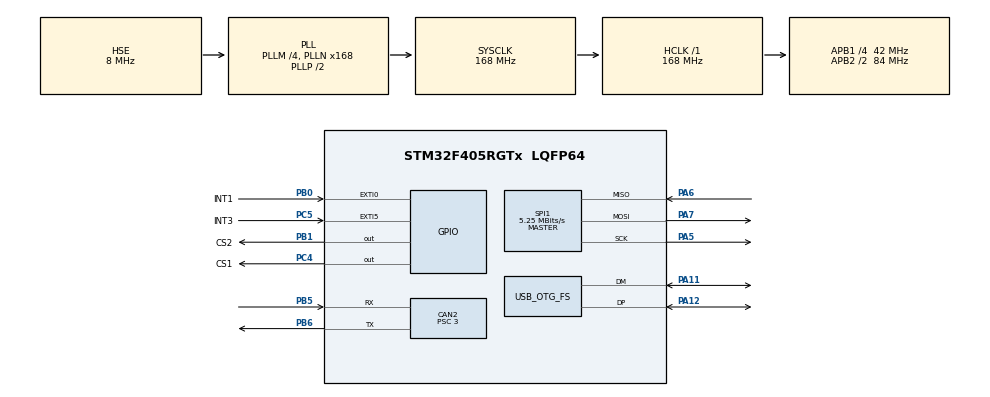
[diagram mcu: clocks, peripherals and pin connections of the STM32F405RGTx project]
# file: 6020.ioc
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CAN2.ABOM=ENABLE
CAN2.AWUM=ENABLE
CAN2.BS1=CAN_BS1_10TQ
CAN2.BS2=CAN_BS2_3TQ
CAN2.CalculateBaudRate=1000000
CAN2.CalculateTimeBit=1000
CAN2.CalculateTimeQuantum=71.42857142857143
CAN2.NART=ENABLE
CAN2.Prescaler=3
Dma.Request0=SPI1_RX
Dma.Request1=SPI1_TX
Dma.SPI1_RX.0.Direction=DMA_PERIPH_TO_MEMORY
Dma.SPI1_RX.0.FIFOMode=DMA_FIFOMODE_DISABLE
Dma.SPI1_RX.0.Instance=DMA2_Stream2
Dma.SPI1_RX.0.MemDataAlignment=DMA_MDATAALIGN_BYTE
Dma.SPI1_RX.0.MemInc=DMA_MINC_ENABLE
Dma.SPI1_RX.0.Mode=DMA_NORMAL
Dma.SPI1_RX.0.PeriphDataAlignment=DMA_PDATAALIGN_BYTE
Dma.SPI1_RX.0.PeriphInc=DMA_PINC_DISABLE
Dma.SPI1_RX.0.Priority=DMA_PRIORITY_VERY_HIGH
Dma.SPI1_TX.1.Direction=DMA_MEMORY_TO_PERIPH
Dma.SPI1_TX.1.FIFOMode=DMA_FIFOMODE_DISABLE
Dma.SPI1_TX.1.Instance=DMA2_Stream3
Dma.SPI1_TX.1.MemDataAlignment=DMA_MDATAALIGN_BYTE
Dma.SPI1_TX.1.MemInc=DMA_MINC_ENABLE
Dma.SPI1_TX.1.Mode=DMA_NORMAL
Dma.SPI1_TX.1.PeriphDataAlignment=DMA_PDATAALIGN_BYTE
Dma.SPI1_TX.1.PeriphInc=DMA_PINC_DISABLE
Dma.SPI1_TX.1.Priority=DMA_PRIORITY_HIGH
Mcu.Family=STM32F4
Mcu.Name=STM32F405RGTx
Mcu.Package=LQFP64
NVIC.CAN2_RX0_IRQn=true\:0\:0\:false\:false\:true\:true\:true\:true
NVIC.CAN2_TX_IRQn=true\:0\:0\:false\:false\:true\:true\:true\:true
NVIC.DMA2_Stream2_IRQn=true\:0\:0\:false\:false\:true\:false\:true\:true
NVIC.DMA2_Stream3_IRQn=true\:0\:0\:false\:false\:true\:false\:true\:true
NVIC.OTG_FS_IRQn=true\:0\:0\:false\:false\:true\:true\:true\:true
NVIC.PriorityGroup=NVIC_PRIORITYGROUP_4
PA11.Mode=Device_Only
PA11.Signal=USB_OTG_FS_DM
PA12.Mode=Device_Only
PA12.Signal=USB_OTG_FS_DP
PA13.Mode=Serial_Wire
PA13.Signal=SYS_JTMS-SWDIO
PA14.Mode=Serial_Wire
PA14.Signal=SYS_JTCK-SWCLK
PA5.Mode=Full_Duplex_Master
PA5.Signal=SPI1_SCK
PA6.Mode=Full_Duplex_Master
PA6.Signal=SPI1_MISO
PA7.Mode=Full_Duplex_Master
PA7.Signal=SPI1_MOSI
PB0.GPIO_Label=INT1
PB0.GPIO_ModeDefaultEXTI=GPIO_MODE_IT_FALLING
PB0.GPIO_PuPd=GPIO_PULLUP
PB0.Signal=GPXTI0
PB1.GPIO_Label=CS2
PB1.GPIO_PuPd=GPIO_PULLUP
PB1.GPIO_Speed=GPIO_SPEED_FREQ_HIGH
PB1.PinState=GPIO_PIN_SET
PB1.Signal=GPIO_Output
PB5.Mode=CAN_Activate
PB5.Signal=CAN2_RX
PB6.Mode=CAN_Activate
PB6.Signal=CAN2_TX
PC4.GPIO_Label=CS1
PC4.GPIO_PuPd=GPIO_PULLUP
PC4.GPIO_Speed=GPIO_SPEED_FREQ_HIGH
PC4.PinState=GPIO_PIN_SET
PC4.Signal=GPIO_Output
PC5.GPIO_Label=INT3
PC5.GPIO_ModeDefaultEXTI=GPIO_MODE_IT_FALLING
PC5.GPIO_PuPd=GPIO_PULLUP
PC5.Signal=GPXTI5
PH0-OSC_IN.Mode=HSE-External-Oscillator
PH0-OSC_IN.Signal=RCC_OSC_IN
PH1-OSC_OUT.Mode=HSE-External-Oscillator
PH1-OSC_OUT.Signal=RCC_OSC_OUT
ProjectManager.HeapSize=0x200
ProjectManager.StackSize=0x400
ProjectManager.TargetToolchain=CMake
RCC.48MHZClocksFreq_Value=48000000
RCC.AHBFreq_Value=168000000
RCC.APB1CLKDivider=RCC_HCLK_DIV4
RCC.APB1Freq_Value=42000000
RCC.APB1TimFreq_Value=84000000
RCC.APB2CLKDivider=RCC_HCLK_DIV2
RCC.APB2Freq_Value=84000000
RCC.APB2TimFreq_Value=168000000
RCC.CortexFreq_Value=168000000
RCC.HCLKFreq_Value=168000000
RCC.HSE_VALUE=8000000
RCC.HSI_VALUE=16000000
RCC.LSE_VALUE=32768
RCC.PLLM=4
RCC.PLLN=168
RCC.PLLQ=7
RCC.SYSCLKFreq_VALUE=168000000
RCC.SYSCLKSource=RCC_SYSCLKSOURCE_PLLCLK
RCC.VCOOutputFreq_Value=336000000
SPI1.BaudRatePrescaler=SPI_BAUDRATEPRESCALER_16
SPI1.CLKPhase=SPI_PHASE_2EDGE
SPI1.CLKPolarity=SPI_POLARITY_HIGH
SPI1.CalculateBaudRate=5.25 MBits/s
SPI1.Direction=SPI_DIRECTION_2LINES
SPI1.Mode=SPI_MODE_MASTER
SPI1.VirtualType=VM_MASTER
USB_DEVICE.CLASS_NAME_FS=CDC
USB_DEVICE.VirtualMode-CDC_FS=Cdc
USB_DEVICE.VirtualModeFS=Cdc_FS
USB_OTG_FS.VirtualMode=Device_Only
VP_USB_DEVICE_VS_USB_DEVICE_CDC_FS.Mode=CDC_FS
board=custom

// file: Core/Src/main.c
/* USER CODE BEGIN Header */
/**
  ******************************************************************************
  * @file           : main.c
  * @brief          : 针对 +40度抖动优化的完整版本
  * 集成：动态P增益、增强滤波(0.1)、积分分离与死区
  ******************************************************************************
  */
/* USER CODE END Header */
#include "main.h"
#include "can.h"
#include "dma.h"
#include "spi.h"
#include "usb_device.h"
#include "gpio.h"

/* USER CODE BEGIN Includes */
#include "stdio.h"
#include "stdarg.h"
#include "math.h"
#include "bsp_can.h"
#include "bsp_usb.h"
#include "bsp_bmi088driver.h"
#include "module_pid.h"
#include "lib_MahonyAHRS.h"
#include "lib_akf.h"
#include "lib_ahrsfusion.h"
/* USER CODE END Includes */

/* USER CODE BEGIN PM */
extern moto_info_t motor_info[MOTOR_MAX_NUM];

#define MOTOR2_IDX  2
#define MOTOR4_IDX  4

/* ===== PID 基础参数（已根据抖动情况优化） ===== */
#define ANGLE_KP        10.0f
#define ANGLE_KI        0.05f
#define ANGLE_KD        0.4f
#define ANGLE_I_MAX    40.0f
#define ANGLE_OUT_MAX 250.0f

#define SPEED_KP      80.0f    /* 适当降低速度环 P 增益以缓解抖动 */
#define SPEED_KI        0.5f
#define SPEED_KD        0.0f    /* 速度环 D 保持为 0，防止放大噪声 */
#define SPEED_I_MAX  4000.0f
#define SPEED_OUT_MAX 25000.0f

/* ===== 抖动优化专项参数 ===== */
#define LPF_ALPHA       0.1f   /* 增强滤波：从 0.3 降至 0.1，滤除反馈噪声 */
#define ANGLE_DEADBAND  0.1f   /* 位置死区 */
#define I_SEPARATE_THR  2.0f   /* 积分分离阈值 */
#define I_DEADBAND      0.05f  /* 积分死区 */

#define P_REDUCE_THR    2.0f   /* 误差小于 2.0° 时触发 P 增益减小 */
#define P_REDUCE_RATIO  0.5f   /* 增益削减比例，此处为削弱 50% */

/* 其他系统参数保持不变 */
#define GYRO_CALIB_MS    2000
#define ACCEL_VALID_MIN   5.0f
#define ACCEL_VALID_MAX  15.0f
#define AKF_P0           1.0f
#define AKF_Q0           1e-7f
#define PF_NEFF_THRESH  (PF_PARTICLE_NUM / 2.0f)
#define SCAN_AMP        40.0f
#define SCAN_FREQ        0.5f
#define SPEED_FF_GAIN    0.0f
#define HOMING_SPEED    20.0f
#define HOMING_THRESH    3.0f

pid_struct_t angle_pid2, angle_pid4;
pid_struct_t speed_pid2, speed_pid4;

typedef enum { STATE_HOMING = 0, STATE_SCAN } ctrl_state_t;
ctrl_state_t state2 = STATE_HOMING;
ctrl_state_t state4 = STATE_HOMING;

float prof_pos = 0.0f;
float scan_phase = 0.0f;
float dbg_spd_ff = 0.0f;
float filtered_spd2 = 0.0f;
float filtered_spd4 = 0.0f;
uint16_t zero_enc2 = 0;
uint16_t zero_enc4 = 0;

/* Ozone 观测变量 */
volatile float dbg_angle2, dbg_angle4, dbg_prof, dbg_err2, dbg_err4;
volatile float dbg_voltage2, dbg_voltage4;
volatile int imu_calib_done = 0;
float gyro_bias[3] = {0}, euler_offset[3] = {0};
Gyro_AKF_HandleTypeDef akf_gx, akf_gy, akf_gz;
ParticleFilter_t pf;
/* USER CODE END PM */

/* USER CODE BEGIN 0 */
float enc_to_angle(uint16_t enc, uint16_t zero) {
    int32_t diff = (int32_t)enc - (int32_t)zero;
    if (diff > 4096) diff -= 8192; else if (diff < -4096) diff += 8192;
    return (float)diff * 360.0f / 8192.0f;
}

float angle_err_calc(float target, float current) {
    float e = target - current;
    if (e > 180.0f) e -= 360.0f; else if (e < -180.0f) e += 360.0f;
    return e;
}
/* USER CODE END 0 */

int main(void) {
    HAL_Init();
    SystemClock_Config();
    MX_GPIO_Init();
    MX_DMA_Init();
    MX_CAN2_Init();
    MX_SPI1_Init();
    MX_USB_DEVICE_Init();

    /* USER CODE BEGIN 2 */
    can_user_init(&hcan2);
    pid_init(&angle_pid2, ANGLE_KP, ANGLE_KI, ANGLE_KD, ANGLE_I_MAX, ANGLE_OUT_MAX);
    pid_init(&speed_pid2, SPEED_KP, SPEED_KI, SPEED_KD, SPEED_I_MAX, SPEED_OUT_MAX);
    pid_init(&angle_pid4, ANGLE_KP, ANGLE_KI, ANGLE_KD, ANGLE_I_MAX, ANGLE_OUT_MAX);
    pid_init(&speed_pid4, SPEED_KP, SPEED_KI, SPEED_KD, SPEED_I_MAX, SPEED_OUT_MAX);

    BMI088_init();
    HAL_Delay(100);
    zero_enc2 = motor_info[MOTOR2_IDX].rotor_angle;
    zero_enc4 = motor_info[MOTOR4_IDX].rotor_angle;
    BSP_USB_Init();
    /* USER CODE END 2 */

    float q[4] = {1.0f, 0.0f, 0.0f, 0.0f};

    while (1) {
        /* USER CODE BEGIN 3 */
        BSP_USB_Receive();
        static uint32_t last_tick = 0;
        if (HAL_GetTick() - last_tick >= 10) {
            last_tick = HAL_GetTick();
            const float dt = 0.01f;

            fp32 gyro[3], accel[3], temp;
            BMI088_read(gyro, accel, &temp);

            /* --- IMU 校准逻辑 --- */
            if (!imu_calib_done) {
                static int calib_cnt = 0;
                static double g_sum[3] = {0};
                g_sum[0]+=gyro[0]; g_sum[1]+=gyro[1]; g_sum[2]+=gyro[2];
                if (++calib_cnt >= 200) {
                    gyro_bias[0]=g_sum[0]/200; gyro_bias[1]=g_sum[1]/200; gyro_bias[2]=g_sum[2]/200;
                    Gyro_AKF_Init(&akf_gx, gyro_bias[0], AKF_P0, AKF_Q0, 1e-4f);
                    Gyro_AKF_Init(&akf_gy, gyro_bias[1], AKF_P0, AKF_Q0, 1e-4f);
                    Gyro_AKF_Init(&akf_gz, gyro_bias[2], AKF_P0, AKF_Q0, 1e-4f);
                    imu_calib_done = 1;
                }
                continue;
            }

            /* --- 姿态融合更新 --- */
            float gx = Gyro_AKF_Update(&akf_gx, gyro[0]) - gyro_bias[0];
            float gy = Gyro_AKF_Update(&akf_gy, gyro[1]) - gyro_bias[1];
            float gz = Gyro_AKF_Update(&akf_gz, gyro[2]) - gyro_bias[2];
            MahonyAHRSupdateIMU(q, gx, gy, gz, accel[1], accel[0], accel[2]);

            /* --- 反馈值读取与滤波 --- */
            dbg_angle2 = enc_to_angle(motor_info[MOTOR2_IDX].rotor_angle, zero_enc2);
            dbg_angle4 = enc_to_angle(motor_info[MOTOR4_IDX].rotor_angle, zero_enc4);

            // 增强速度反馈低通滤波
            filtered_spd2 = LPF_ALPHA * (float)motor_info[MOTOR2_IDX].rotor_speed + (1.0f - LPF_ALPHA) * filtered_spd2;
            filtered_spd4 = LPF_ALPHA * (float)motor_info[MOTOR4_IDX].rotor_speed + (1.0f - LPF_ALPHA) * filtered_spd4;

            // 正弦扫描目标生成
            scan_phase += dt;
            prof_pos = SCAN_AMP * sinf(2.0f * (float)M_PI * SCAN_FREQ * scan_phase);
            dbg_prof = prof_pos;

            /* ---- ID2 PID 优化核心 ---- */
            {
                dbg_err2 = angle_err_calc(-prof_pos, dbg_angle2);

                // 1. 位置环全局死区
                if (fabsf(dbg_err2) < ANGLE_DEADBAND) dbg_err2 = 0.0f;

                // 2. 动态调节 KP：误差越小，P越弱，抑制抖动
                float dynamic_kp = ANGLE_KP;
                if (fabsf(dbg_err2) < P_REDUCE_THR) {
                    dynamic_kp = ANGLE_KP * P_REDUCE_RATIO;
                }
                angle_pid2.p_out = dynamic_kp * dbg_err2;

                // 3. 积分优化：死区外积分，死区内平滑衰减
                if (fabsf(dbg_err2) > I_DEADBAND && fabsf(dbg_err2) < I_SEPARATE_THR) {
                    angle_pid2.i_out += angle_pid2.ki * dbg_err2;
                } else if (fabsf(dbg_err2) <= I_DEADBAND) {
                    angle_pid2.i_out *= 0.8f;
                }
                LIMIT_MIN_MAX(angle_pid2.i_out, -angle_pid2.i_max, angle_pid2.i_max);

                // 4. 微分项 D
                angle_pid2.d_out = angle_pid2.kd * (dbg_err2 - angle_pid2.err[0]);
                angle_pid2.err[0] = dbg_err2;

                float spd_target2 = angle_pid2.p_out + angle_pid2.i_out + angle_pid2.d_out;
                LIMIT_MIN_MAX(spd_target2, -angle_pid2.out_max, angle_pid2.out_max);

                // 5. 速度环计算
                float spd_err2 = spd_target2 - filtered_spd2;
                speed_pid2.p_out = speed_pid2.kp * spd_err2;
                speed_pid2.i_out += speed_pid2.ki * spd_err2;
                LIMIT_MIN_MAX(speed_pid2.i_out, -speed_pid2.i_max, speed_pid2.i_max);

                dbg_voltage2 = speed_pid2.p_out + speed_pid2.i_out;
                LIMIT_MIN_MAX(dbg_voltage2, -speed_pid2.out_max, speed_pid2.out_max);
            }

            /* ---- ID4 PID 优化核心 ---- */
            {
                dbg_err4 = angle_err_calc(-prof_pos, dbg_angle4);
                if (fabsf(dbg_err4) < ANGLE_DEADBAND) dbg_err4 = 0.0f;

                float dynamic_kp4 = (fabsf(dbg_err4) < P_REDUCE_THR) ? (ANGLE_KP * P_REDUCE_RATIO) : ANGLE_KP;
                angle_pid4.p_out = dynamic_kp4 * dbg_err4;

                if (fabsf(dbg_err4) > I_DEADBAND && fabsf(dbg_err4) < I_SEPARATE_THR) {
                    angle_pid4.i_out += angle_pid4.ki * dbg_err4;
                } else if (fabsf(dbg_err4) <= I_DEADBAND) {
                    angle_pid4.i_out *= 0.8f;
                }
                LIMIT_MIN_MAX(angle_pid4.i_out, -angle_pid4.i_max, angle_pid4.i_max);

                angle_pid4.d_out = angle_pid4.kd * (dbg_err4 - angle_pid4.err[0]);
                angle_pid4.err[0] = dbg_err4;

                float spd_target4 = angle_pid4.p_out + angle_pid4.i_out + angle_pid4.d_out;
                LIMIT_MIN_MAX(spd_target4, -angle_pid4.out_max, angle_pid4.out_max);

                float spd_err4 = spd_target4 - filtered_spd4;
                speed_pid4.p_out = speed_pid4.kp * spd_err4;
                speed_pid4.i_out += speed_pid4.ki * spd_err4;
                LIMIT_MIN_MAX(speed_pid4.i_out, -speed_pid4.i_max, speed_pid4.i_max);

                dbg_voltage4 = speed_pid4.p_out + speed_pid4.i_out;
                LIMIT_MIN_MAX(dbg_voltage4, -speed_pid4.out_max, speed_pid4.out_max);
            }

            // 输出电流控制
            set_motor_voltage(0, 0, (int16_t)dbg_voltage2, 0, (int16_t)dbg_voltage4);
        }
    }
    /* USER CODE END 3 */
}
void SystemClock_Config(void)
{
  RCC_OscInitTypeDef RCC_OscInitStruct = {0};
  RCC_ClkInitTypeDef RCC_ClkInitStruct = {0};

  /** Configure the main internal regulator output voltage
  */
  __HAL_RCC_PWR_CLK_ENABLE();
  __HAL_PWR_VOLTAGESCALING_CONFIG(PWR_REGULATOR_VOLTAGE_SCALE1);

  /** Initializes the RCC Oscillators according to the specified parameters
  * in the RCC_OscInitTypeDef structure.
  */
  RCC_OscInitStruct.OscillatorType = RCC_OSCILLATORTYPE_HSE;
  RCC_OscInitStruct.HSEState = RCC_HSE_ON;
  RCC_OscInitStruct.PLL.PLLState = RCC_PLL_ON;
  RCC_OscInitStruct.PLL.PLLSource = RCC_PLLSOURCE_HSE;
  RCC_OscInitStruct.PLL.PLLM = 4;
  RCC_OscInitStruct.PLL.PLLN = 168;
  RCC_OscInitStruct.PLL.PLLP = RCC_PLLP_DIV2;
  RCC_OscInitStruct.PLL.PLLQ = 7;
  if (HAL_RCC_OscConfig(&RCC_OscInitStruct) != HAL_OK)
  {
    Error_Handler();
  }

  /** Initializes the CPU, AHB and APB buses clocks
  */
  RCC_ClkInitStruct.ClockType = RCC_CLOCKTYPE_HCLK|RCC_CLOCKTYPE_SYSCLK
                              |RCC_CLOCKTYPE_PCLK1|RCC_CLOCKTYPE_PCLK2;
  RCC_ClkInitStruct.SYSCLKSource = RCC_SYSCLKSOURCE_PLLCLK;
  RCC_ClkInitStruct.AHBCLKDivider = RCC_SYSCLK_DIV1;
  RCC_ClkInitStruct.APB1CLKDivider = RCC_HCLK_DIV4;
  RCC_ClkInitStruct.APB2CLKDivider = RCC_HCLK_DIV2;

  if (HAL_RCC_ClockConfig(&RCC_ClkInitStruct, FLASH_LATENCY_5) != HAL_OK)
  {
    Error_Handler();
  }
}

void Error_Handler(void)
{
  __disable_irq();
  while (1) {}
}
